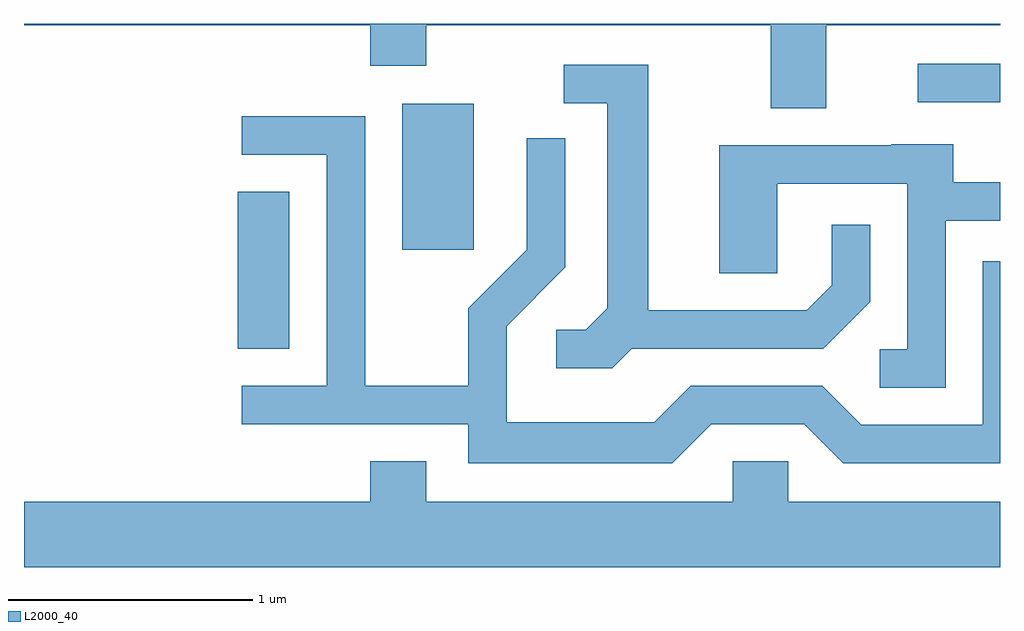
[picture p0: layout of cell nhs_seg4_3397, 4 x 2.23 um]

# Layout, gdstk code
import gdstk
lib = gdstk.Library(unit=1e-6, precision=1e-09)
def R(c, l, rs):  # rectangles x0, y0, x1, y1
    for r in rs: c.add(gdstk.rectangle(r[:2], r[2:], *l))
def P(c, l, *ps):  # polygons
    for p in ps: c.add(gdstk.Polygon(p, *l))
L2000_40 = (2000, 40)

nhs_seg4_3397 = lib.new_cell('nhs_seg4_3397')
R(nhs_seg4_3397, L2000_40, [(284.486,1386.651,284.699,1387.294), (285.161,1387.056,285.454,1387.654), (287.273,1387.661,287.611,1387.819)])
P(nhs_seg4_3397, L2000_40, [(286.899,1387.976),(287.611,1387.976),(287.611,1387.982),(283.611,1387.982),(283.611,1387.976),(285.031,1387.976),(285.031,1387.811),(285.259,1387.811),(285.259,1387.976),(286.671,1387.976),(286.671,1387.636),(286.899,1387.636)],
  [(286.102,1386.651),(286.887,1386.651),(287.079,1386.844),(287.079,1387.158),(286.921,1387.158),(286.921,1386.912),(286.819,1386.809),(286.169,1386.809),(286.169,1387.814),(285.823,1387.814),(285.823,1387.656),(286.001,1387.656),(286.001,1386.817),(285.914,1386.729),(285.793,1386.729),(285.793,1386.571),(286.022,1386.571)],
  [(286.427,1386.341),(286.809,1386.341),(286.969,1386.181),(287.611,1386.181),(287.611,1387.009),(287.541,1387.009),(287.541,1386.339),(287.042,1386.339),(286.882,1386.499),(286.344,1386.499),(286.194,1386.349),(285.589,1386.349),(285.589,1386.744),(285.829,1386.984),(285.829,1387.513),(285.671,1387.513),(285.671,1387.057),(285.431,1386.817),(285.431,1386.499),(285.009,1386.499),(285.009,1387.604),(284.503,1387.604),(284.503,1387.446),(284.851,1387.446),(284.851,1386.499),(284.503,1386.499),(284.503,1386.341),(285.431,1386.341),(285.431,1386.181),(286.267,1386.181)],
  [(287.389,1387.176),(287.611,1387.176),(287.611,1387.334),(287.419,1387.334),(287.419,1387.489),(287.165,1387.489),(287.165,1387.484),(286.461,1387.484),(286.461,1386.961),(286.699,1386.961),(286.699,1387.326),(287.231,1387.326),(287.231,1386.649),(287.118,1386.649),(287.118,1386.491),(287.389,1386.491)],
  [(287.611,1386.024),(286.744,1386.024),(286.744,1386.189),(286.516,1386.189),(286.516,1386.024),(285.259,1386.024),(285.259,1386.189),(285.031,1386.189),(285.031,1386.024),(283.611,1386.024),(283.611,1385.756),(287.611,1385.756)])

lib.write_gds('nhs_seg4_3397.gds')
